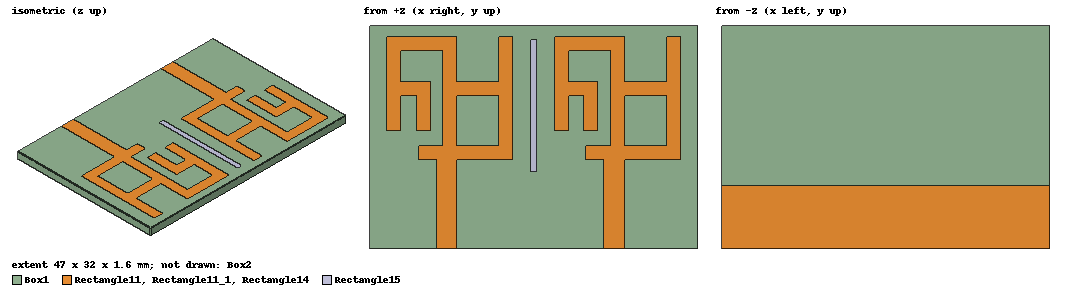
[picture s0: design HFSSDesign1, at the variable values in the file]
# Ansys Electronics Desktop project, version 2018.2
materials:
  FR4_epoxy: permittivity=4.4 dielectric_loss_tangent=0.02
  vacuum: permittivity=1

design HFSSDesign1 (HFSS, DrivenModal, model units mm)
options: Allow_Material_Override
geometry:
  Box1 [FR4_epoxy] = box(corner=(0mm, 0mm, 0mm), size=(47mm, 32mm, 1.6mm))
  Rectangle3 = rectangle(corner=(9.6mm, 0mm, 1.6mm), x_size=2.9mm, y_size=12.8mm)
  Rectangle4 = rectangle(corner=(7mm, 14.8mm, 1.6mm), x_size=13.5mm, y_size=-2mm)
  Rectangle5 = rectangle(corner=(20.5mm, 12.8mm, 1.6mm), x_size=-2mm, y_size=17.6mm)
  Rectangle6 = rectangle(corner=(12.5mm, 12.8mm, 1.6mm), x_size=-2mm, y_size=17.6mm)
  Rectangle7 = rectangle(corner=(12.5mm, 24mm, 1.6mm), x_size=6mm, y_size=-2mm)
  Rectangle8 = rectangle(corner=(12.5mm, 30.4mm, 1.6mm), x_size=-10mm, y_size=-2mm)
  Rectangle9 = rectangle(corner=(2.5mm, 30.4mm, 1.6mm), x_size=2mm, y_size=-13.5mm)
  Rectangle10 = rectangle(corner=(4.5mm, 24mm, 1.6mm), x_size=4.2mm, y_size=-2mm)
  Rectangle11 = rectangle(corner=(8.7mm, 24mm, 1.6mm), x_size=-2mm, y_size=-7.1mm)
  Rectangle11.unite(Rectangle10, Rectangle9, Rectangle8, Rectangle7, Rectangle6, Rectangle5, Rectangle4, Rectangle3)
  Rectangle12 = rectangle(corner=(9.6mm, 0mm, 1.6mm), z_size=-1.6mm, x_size=2.9mm)
  Rectangle11_1 = Rectangle11.duplicate_along_line(step=(24mm, 0mm, 0mm), total=2)
  Rectangle13 = rectangle(corner=(33.6mm, 0mm, 1.6mm), z_size=-1.6mm, x_size=2.9mm)
  coordinate_system RelativeCS1 = origin=(0mm, -25mm, 0mm) x=(1mm, 0mm, 0mm) y=(0mm, 1mm, 0mm)
  coordinate_system RelativeCS2 = origin=(-1.5mm, -3mm, 0mm) x=(1mm, 0mm, 0mm) y=(0mm, 1mm, 0mm) in RelativeCS1
  Rectangle14 = rectangle(corner=(1.5mm, 28mm, 0mm), x_size=47mm, y_size=9mm) in RelativeCS2
  coordinate_system RelativeCS3 = origin=(1.5mm, 28mm, 1.6mm) x=(1mm, 0mm, 0mm) y=(0mm, 1mm, 0mm) in RelativeCS2
  Box2 [vacuum] = box(corner=(-20.27mm, -20.27mm, -20.27mm), size=(87.54mm, 72.54mm, 42.14mm)) in RelativeCS3
  Rectangle15 = rectangle(corner=(24mm, 30mm, 0mm), x_size=-1mm, y_size=-19mm) in RelativeCS3
  coordinate_system RelativeCS4 = origin=(0mm, 0mm, -1.6mm) x=(1mm, 0mm, 0mm) y=(0mm, 1mm, 0mm) in RelativeCS3
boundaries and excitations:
  PerfE1: Perfect E Objects=Rectangle11
  PerfE2: Perfect E Objects=Rectangle11_1
  PerfE3: Perfect E Objects=Rectangle14
  Rad1: Radiation Objects=Box2
  1: Lumped Port Objects=Rectangle12 Modes{Mode1{IntLine{middle of Rectangle12.edge(z opposite corner) -> middle of Rectangle12.edge(z at corner)} CharImp=Zpi RenormImp=50ohm}} Impedance=50ohm
  2: Lumped Port Objects=Rectangle13 Modes{Mode1{IntLine{middle of Rectangle13.edge(z opposite corner) -> middle of Rectangle13.edge(z at corner)} CharImp=Zpi RenormImp=50ohm}} Impedance=50ohm
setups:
  Setup1: HfssDriven AdaptMultipleFreqs MultipleAdaptiveFreqsSetup{Broadband{Low=3.7GHz High=6.6GHz}} MaxDeltaS=0.02 MaximumPasses=20 MinimumPasses=1 MinimumConvergedPasses=1 PercentRefinement=30 BasisOrder=1 PortAccuracy=2
    sweep Sweep: 0.2GHz to 10GHz step 0.02GHz; Type=Fast SaveFields
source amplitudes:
  1:1: 1W 0deg
  2:1: 0W 0deg
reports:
  S Parameter Plot 1: dB(S(1,1)) vs Freq on Setup1 : Sweep
